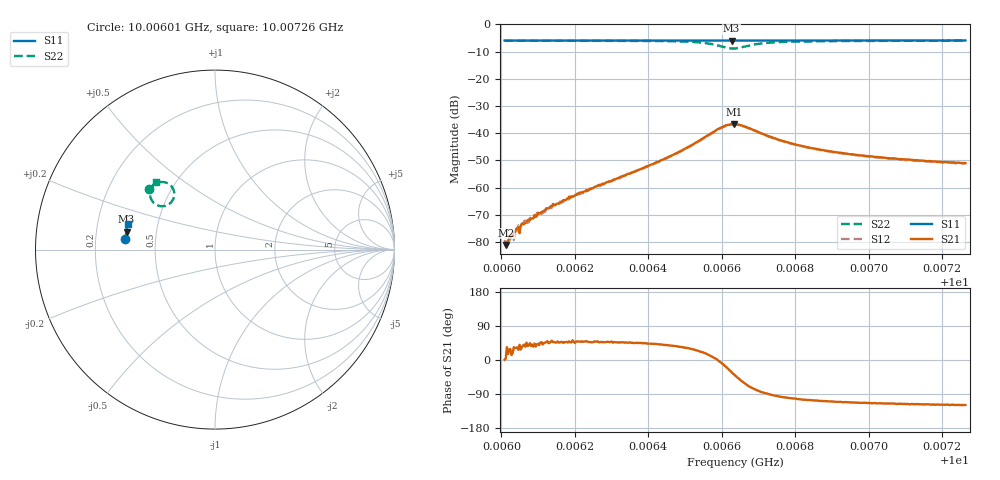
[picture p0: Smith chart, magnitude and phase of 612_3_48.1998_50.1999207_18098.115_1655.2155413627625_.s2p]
#  HZ  S  RI  R  50.00
! Rohde & Schwarz Vector Network Analyzer
! Rohde-Schwarz,ZNB20-2Port,1311601062101988,3.16
! Created: UTC 3/20/2024, 12:03:33 PM
! freq[Hz]  re:S11  im:S11  re:S21  im:S21  re:S12  im:S12  re:S22  im:S22
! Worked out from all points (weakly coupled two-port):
!   401 points, 10.00601 GHz to 10.00726 GHz, reference 50 ohm
!   highest |S21| = -36.64 dB at 10.00663 GHz (marker M1); lowest = -81.1 dB at 10.00601 GHz (marker M2)
!   lowest |S11| = -6.0 dB at 10.00663 GHz (marker M3), VSWR 3.02, Z = 16.7 + j4.49 ohm
!   |S11| at or under -10 dB: nowhere
!   |S22| runs from -8.9 to -6.0 dB; largest |S21 - S12| = 0.0011
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1.0006009e10  -0.4993 0.0611  9.7e-05 1.02e-06  0.000108 1.68e-05  -0.3677 0.3366
1.0006012e10  -0.4992 0.0613  8.81e-05 5.98e-06  7.89e-05 2.97e-05  -0.3675 0.3369
1.0006027e10  -0.4993 0.0622  0.000136 3.13e-05  0.000131 1.42e-05  -0.3665 0.3378
1.000604e10  -0.4991 0.0631  0.000148 9.33e-05  0.000139 7.54e-05  -0.3658 0.3386
1.0006043e10  -0.4991 0.0634  0.000152 9.94e-05  0.000145 7.86e-05  -0.3656 0.3389
1.0006053e10  -0.4989 0.0638  0.000178 9.36e-05  0.000141 0.000128  -0.365 0.3395
1.0006075e10  -0.499 0.0654  0.000202 0.000161  0.000154 0.000172  -0.3635 0.3411
1.0006084e10  -0.4988 0.0661  0.000209 0.000178  0.000235 0.000141  -0.3631 0.3417
1.0006137e10  -0.4984 0.0695  0.000283 0.000349  0.000281 0.000321  -0.3595 0.3454
1.0006219e10  -0.4978 0.0749  0.000537 0.000622  0.000506 0.000655  -0.3533 0.3515
1.0006429e10  -0.4958 0.0884  0.0023 0.00202  0.00214 0.00207  -0.3247 0.3708
1.0006492e10  -0.4951 0.0929  0.00403 0.00272  0.00382 0.00285  -0.3041 0.3764
1.0006558e10  -0.494 0.0971  0.00841 0.00252  0.00803 0.00288  -0.2608 0.3677
1.0006595e10  -0.4931 0.0991  0.0124 -0.00112  0.0122 -0.00034  -0.2294 0.3274
1.0006627e10  -0.4925 0.1005  0.0124 -0.00778  0.0126 -0.00678  -0.2417 0.2665
1.0006633e10  -0.4926 0.1009  0.0116 -0.00902  0.0119 -0.00814  -0.2517 0.2565
1.0006636e10  -0.4925 0.1009  0.0111 -0.00944  0.0114 -0.00861  -0.2571 0.2526
1.0006705e10  -0.4928 0.105  0.00115 -0.01  0.00175 -0.00986  -0.3504 0.2714
1.0006774e10  -0.4923 0.1097  -0.00111 -0.00686  -0.000691 -0.00682  -0.3617 0.3103
1.0006846e10  -0.4914 0.1145  -0.00149 -0.00507  -0.00122 -0.00509  -0.3584 0.3313
1.0007057e10  -0.4886 0.1277  -0.00146 -0.00314  -0.00128 -0.00317  -0.344 0.3591
1.0007264e10  -0.4855 0.1409  -0.00136 -0.00248  -0.00123 -0.00247  -0.3315 0.3743
